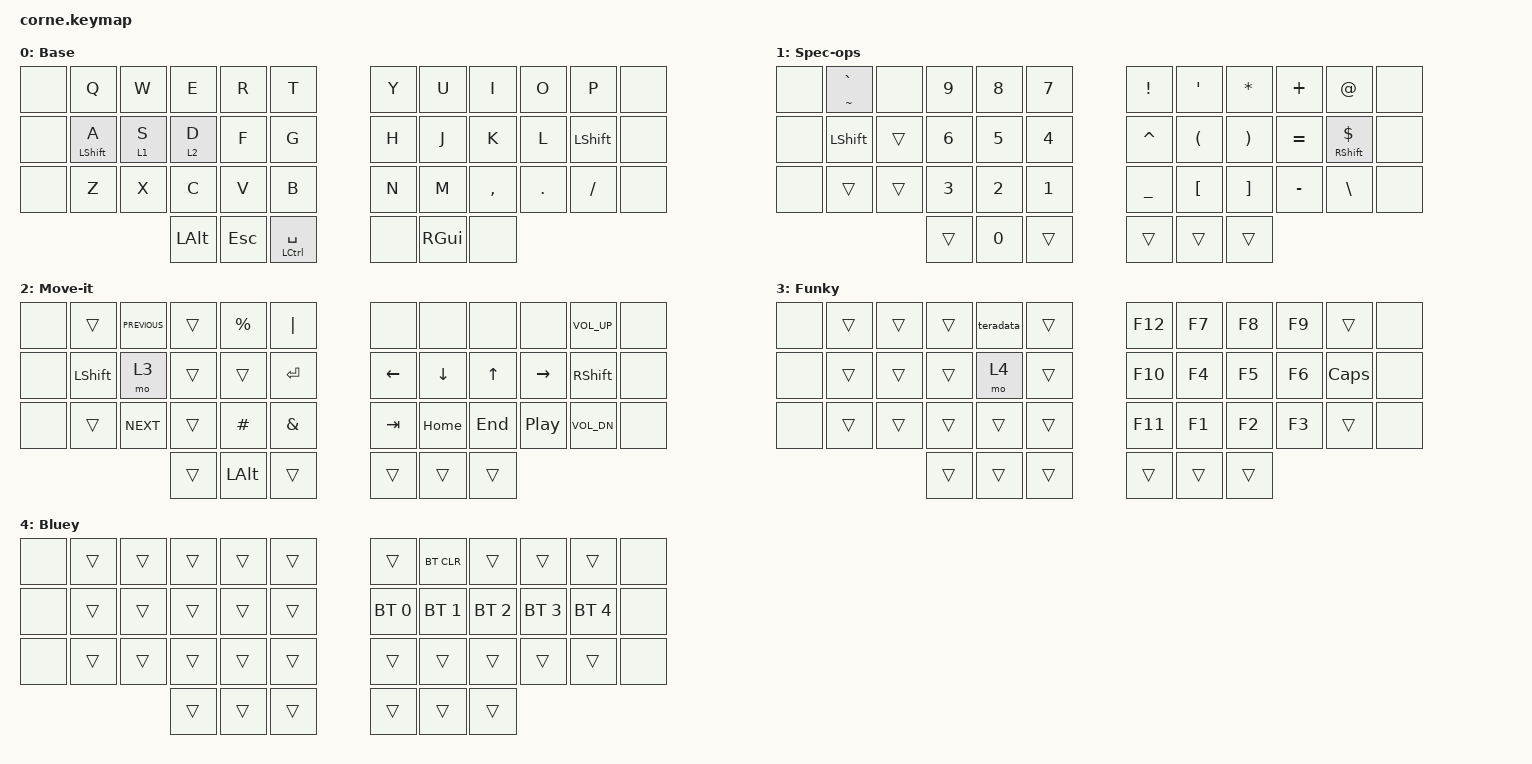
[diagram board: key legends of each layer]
/*
 * Copyright (c) 2020 The ZMK Contributors
 *
 * SPDX-License-Identifier: MIT
 */

#include <behaviors.dtsi>
#include <dt-bindings/zmk/bt.h>
#include <dt-bindings/zmk/keys.h>

&mt {
    tapping-term-ms = <175>;
};

&lt {
    tapping-term-ms = <150>;
};

/ {
    macros {
        alt_tab: alt_tab {
                        compatible = "zmk,behavior-macro";
                        #binding-cells = <0>;
                        bindings = 
                            <&macro_press &kp LALT>,
                            <&macro_tap &kp TAB>,
                            <&macro_release &kp LALT>
                        ;
        };
        teradata: teradata {
                        compatible = "zmk,behavior-macro";
                        #binding-cells = <0>;
                        bindings = 
                            <&macro_tap &kp END>,
                            <&macro_press &kp LSHIFT>,
                            <&macro_tap &kp HOME>,
                            <&macro_release &kp LSHIFT>,
                            <&macro_tap &kp F5>
                        ;
        };
    };
    combos {
        compatible = "zmk,combos";
        combo_backspace {
            timeout-ms = <50>;
            key-positions = <15 16>;
            bindings = <&kp BACKSPACE>;
        };
        combo_delete {
            timeout-ms = <50>;
            key-positions = <7 8>;
            bindings = <&kp DELETE>;
        };
        combo_dotcomma {
            timeout-ms = <50>;
            key-positions = <32 33>;
            bindings = <&kp SEMICOLON>;
        };
    };
    behaviors {
        // num list: <1 2 3 4 5 6 7 8 9 10 11 12 13 14 15 16 17 18 19 20 21 22 23 24 25 26 27 28 29 30 31 32 33 34 35 36 37 38 39 40 41>;
        // taken from https://zmk.dev/docs/keymaps/behaviors/hold-tap
        // I don't use full homerow mods this is just for shift a
        bhm: balanced_homerow_mods { 
            compatible = "zmk,behavior-hold-tap";
            #binding-cells = <2>;
            tapping-term-ms = <175>;
            flavor = "balanced";
            bindings = <&kp>, <&kp>;
            hold-trigger-key-positions = <1 2 3 5 6 7 8 9 10 11 12 13 16 17 18 19 20 21 22 23 24 25 26 27 28 29 30 31 32 33 34 35 36 37 38 39 40 41>; // opposite of <4,14,15>;
        };
        spec: specops_layer_key { 
            compatible = "zmk,behavior-hold-tap";
            #binding-cells = <2>;
            tapping-term-ms = <160>;
            flavor = "hold-preferred";
            bindings = <&mo>,<&kp>;
            hold-trigger-key-positions = <1 2 6 7 8 9 10 11 12 13 14 17 18 19 20 21 22 23 24 25 26 28 29 30 31 32 33 34 35 36 37 38 39 40 41>; // opposite of <3,4,5,15,16,27>; 1,2 and 4 not included
        };
        ctsp: ctrl_space { 
            compatible = "zmk,behavior-hold-tap";
            #binding-cells = <2>;
            tapping-term-ms = <175>;
            flavor = "balanced";
            bindings = <&kp>, <&kp>;
        };
    };
    keymap { 
        compatible = "zmk,keymap"; 
        default_layer {
            display-name = "Base";
            bindings = < 
                &none    &kp Q &kp W &kp E &kp R &kp T                     &kp Y &kp U &kp I &kp O &kp P    &none
                &none    &bhm LSHIFT A &spec 1 S &lt 2 D &kp F &kp G         &kp H &kp J &kp K &kp L &kp LSHIFT    &none
                &none    &kp Z &kp X &kp C &kp V &kp B                     &kp N &kp M &kp COMMA &kp DOT &kp FSLH     &none
                                    &kp LALT &kp ESC &ctsp LCTRL SPACE       &none &kp RGUI &none 
            >;
        };
        spec_layer {
            display-name = "Spec-ops";
            bindings = <
                &none &mt TILDE GRAVE &none &kp N9 &kp N8 &kp N7           &kp EXCL &kp APOS &kp STAR &kp PLUS &kp AT              &none
                &none &kp LSHIFT &trans &kp N6 &kp N5 &kp N4                   &kp CARET &kp LPAR &kp RPAR &kp EQUAL &mt RSHIFT DOLLAR &none
                &none &trans &trans &kp N3 &kp N2 &kp N1                   &kp UNDER &kp LBKT &kp RBKT &kp MINUS &kp BSLH          &none
                                &trans &kp N0 &trans                        &trans &trans &trans
            >;
        };
        move_layer {
            display-name = "Move-it";
            bindings = <
                &none &trans &kp C_PREVIOUS &trans &kp PERCENT &kp PIPE            &none &none &none &none/*&msc SCRL_LEFT &msc SCRL_DOWN &msc SCRL_UP &msc SCRL_RIGHT*/ &kp C_VOL_UP &none
                &none &kp LSHIFT &mo 3 &trans &trans &kp ENTER                 &kp LEFT &kp DOWN &kp UP &kp RIGHT &kp RSHIFT &none
                &none &trans &kp C_NEXT &trans &kp HASH &kp AMPS                   &kp TAB &kp HOME &kp END &kp C_PP &kp C_VOL_DN &none
                                   &trans &kp LALT &trans                            &trans &trans &trans
            >;
        };
        fn_layer {
            display-name = "Funky";
            bindings = <
                &none &trans &trans &trans &teradata &trans                      &kp F12 &kp F7 &kp F8 &kp F9 &trans &none
                &none &trans &trans &trans &mo 4 &trans                      &kp F10 &kp F4 &kp F5 &kp F6 &kp CAPS &none
                &none &trans &trans &trans &trans &trans                      &kp F11 &kp F1 &kp F2 &kp F3 &trans &none
                                    &trans &trans &trans                      &trans &trans &trans
            >;
        };
        bluetooth {
            display-name = "Bluey";
            bindings = <
                &none &trans &trans &trans &trans &trans                      &trans &bt BT_CLR &trans &trans &trans &none
                &none &trans &trans &trans &trans &trans                      &bt BT_SEL 0 &bt BT_SEL 1 &bt BT_SEL 2 &bt BT_SEL 3 &bt BT_SEL 4 &none
                &none &trans &trans &trans &trans &trans                      &trans &trans &trans &trans &trans &none
                                    &trans &trans &trans                      &trans &trans &trans
            >;
        };
    };
};

/*
/ {
        keymap {
                compatible = "zmk,keymap";

                default_layer {
//
-----------------------------------------------------------------------------------------
// |  TAB |  Q  |  W  |  E  |  R  |  T  |   |  Y  |  U   |  I  |  O  |  P  |
BSPC |
// | CTRL |  A  |  S  |  D  |  F  |  G  |   |  H  |  J   |  K  |  L  |  ;  |  '
|
// | SHFT |  Z  |  X  |  C  |  V  |  B  |   |  N  |  M   |  ,  |  .  |  /  | ESC
|
//                    | GUI | LWR | SPC |   | ENT | RSE  | ALT |
                        bindings = <
   &kp TAB   &kp Q &kp W &kp E &kp R &kp T   &kp Y &kp U  &kp I     &kp O   &kp
P    &kp BSPC &kp LCTRL &kp A &kp S &kp D &kp F &kp G   &kp H &kp J  &kp K &kp L
&kp SEMI &kp SQT &kp LSHFT &kp Z &kp X &kp C &kp V &kp B   &kp N &kp M  &kp
COMMA &kp DOT &kp FSLH &kp ESC &kp LGUI &mo 1 &kp SPACE   &kp RET &mo 2 &kp RALT
                        >;
                };
                lower_layer {
//
-----------------------------------------------------------------------------------------
// |  TAB |  1  |  2  |  3  |  4  |  5  |   |  6  |  7  |  8  |  9  |  0  | BSPC
|
// | BTCLR| BT1 | BT2 | BT3 | BT4 | BT5 |   | LFT | DWN |  UP | RGT |     | |
// | SHFT |     |     |     |     |     |   |     |     |     |     |     | |
//                    | GUI |     | SPC |   | ENT |     | ALT |
                        bindings = <
   &kp TAB    &kp N1       &kp N2       &kp N3       &kp N4       &kp N5 &kp N6
&kp N7   &kp N8 &kp N9    &kp N0 &kp BSPC &bt BT_CLR &bt BT_SEL 0 &bt BT_SEL 1
&bt BT_SEL 2 &bt BT_SEL 3 &bt BT_SEL 4   &kp LEFT &kp DOWN &kp UP &kp RIGHT
&trans &trans &kp LSHFT  &trans       &trans       &trans       &trans &trans
&trans   &trans   &trans &trans    &trans &trans &kp LGUI     &trans       &kp
SPACE      &kp RET  &trans   &kp RALT
                        >;
                };

                raise_layer {
//
-----------------------------------------------------------------------------------------
// |  TAB |  !  |  @  |  #  |  $  |  %  |   |  ^  |  &  |  *  |  (  |  )  | BSPC
|
// | CTRL |     |     |     |     |     |   |  -  |  =  |  [  |  ]  |  \  |  ` |
// | SHFT |     |     |     |     |     |   |  _  |  +  |  {  |  }  | "|" |  ~ |
//                    | GUI |     | SPC |   | ENT |     | ALT |
                        bindings = <
   &kp  TAB  &kp EXCL &kp AT &kp HASH &kp DLLR &kp PRCNT   &kp CARET &kp AMPS
&kp ASTRK &kp LPAR &kp RPAR &kp BSPC &kp LCTRL &trans   &trans &trans   &trans
&trans      &kp MINUS &kp EQUAL &kp LBKT  &kp RBKT &kp BSLH &kp GRAVE &kp LSHFT
&trans   &trans &trans   &trans   &trans      &kp UNDER &kp PLUS  &kp LBRC  &kp
RBRC &kp PIPE &kp TILDE &kp LGUI &trans   &kp SPACE   &kp RET   &trans    &kp
RALT
                        >;
                };
        };
};
*/
